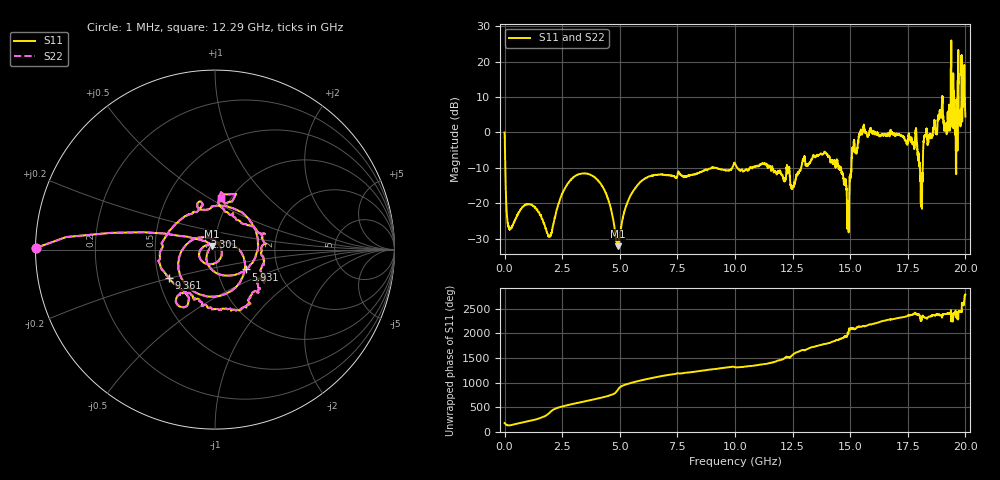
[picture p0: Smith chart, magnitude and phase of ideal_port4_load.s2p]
! Created with skrf (http://scikit-rf.org).
# GHz S RI R 50.0
!freq ReS11 ImS11 ReS21 ImS21 ReS12 ImS12 ReS22 ImS22
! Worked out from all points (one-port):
!   10001 points, 1 MHz to 20 GHz, reference 50 ohm
!   lowest |S11| = -32.1 dB at 4.905 GHz (marker M1), VSWR 1.05, Z = 48.5 + j1.9 ohm
!   |S11| at or under -10 dB: 31.09 MHz to 8.988 GHz (8.957 GHz wide, 199 % of centre); 9.194 GHz to 9.885 GHz (690.7 MHz wide, 7.24 % of centre); 11.62 GHz to 12.23 GHz (612.7 MHz wide, 5.14 % of centre) (the widest 3 of 24)
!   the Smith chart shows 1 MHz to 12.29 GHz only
!   S11 on the Smith chart (normalised r, x): 1 MHz: 0.00, +0.00; 2.301 GHz: 0.89, +0.12; 5.931 GHz: 1.37, -0.32; 9.361 GHz: 0.57, -0.19; 12.29 GHz: 0.90, +0.58
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0.001  -0.9964 0.00969  0 0  0 0  -0.9964 0.00969
0.2289886  -0.0299 0.0307  0 0  0 0  -0.0299 0.0307
2.300885  -0.0552 0.0697  0 0  0 0  -0.0552 0.0697
3.334833  -0.1092 -0.2387  0 0  0 0  -0.1092 -0.2387
4.904755  -0.0152 0.0196  0 0  0 0  -0.0152 0.0196
5.930703  0.1716 -0.1104  0 0  0 0  0.1716 -0.1104
6.668667  0.1923 0.1642  0 0  0 0  0.1923 0.1642
9.360532  -0.2579 -0.156  0 0  0 0  -0.2579 -0.156
10.0005  -0.2163 -0.2956  0 0  0 0  -0.2163 -0.2956
12.29239  0.0393 0.2947  0 0  0 0  0.0393 0.2947
13.33433  0.0782 -0.4106  0 0  0 0  0.0782 -0.4106
14.87626  -0.0505 0.0194  0 0  0 0  -0.0505 0.0194
15.63222  1.061 -0.2653  0 0  0 0  1.061 -0.2653
16.66817  -0.4139 0.8741  0 0  0 0  -0.4139 0.8741
18.0561  -0.1156 0.213  0 0  0 0  -0.1156 0.213
18.92205  -1.581 -1.089  0 0  0 0  -1.581 -1.089
19.27604  -0.7835 -1.455  0 0  0 0  -0.7835 -1.455
19.47803  -4.429 -2.936  0 0  0 0  -4.429 -2.936
19.74201  0.7782 -1.564  0 0  0 0  0.7782 -1.564
19.85201  -0.2627 1.722  0 0  0 0  -0.2627 1.722
19.944  -2.36 4.057  0 0  0 0  -2.36 4.057
20  -0.0264 -1.672  0 0  0 0  -0.0264 -1.672
